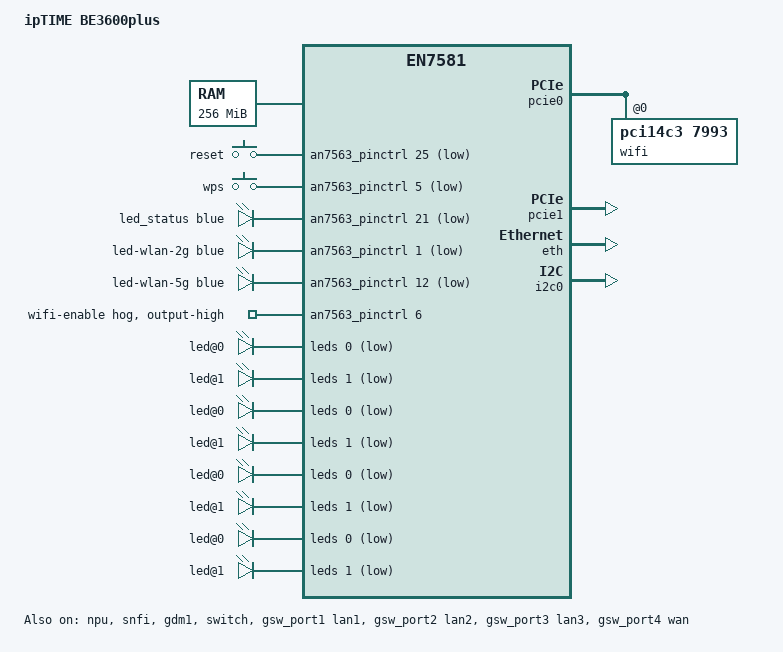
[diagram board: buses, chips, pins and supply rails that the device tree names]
// SPDX-License-Identifier: (GPL-2.0-only OR BSD-2-Clause)
/dts-v1/;

/* Bootloader installs ATF here (BL31 resident region, ~256 KiB). */
/memreserve/ 0x80000000 0x88000;

#include <dt-bindings/gpio/gpio.h>
#include <dt-bindings/input/input.h>
#include <dt-bindings/leds/common.h>
#include "an7563.dtsi"

/*
 * ipTIME BE3600plus: 256 MiB RAM, MT7990 (14c3:7993 + 14c3:799b) with its
 * EEPROM at Factory 0x0, WAN on switch port 4, no EN8811H. The port MACs
 * are below the Wi-Fi MAC at Factory 0x4, as on stock: LAN -2, WAN -1.
 * OpenWrt lives in tclinux_slave; everything else stays read-only.
 */

/ {
	model = "ipTIME BE3600plus";
	compatible = "iptime,be3600p", "airoha,an7563", "airoha,en7581";

	aliases {
		serial0 = &uart1;
		led-boot = &led_status;
		led-failsafe = &led_status;
		led-running = &led_status;
		led-upgrade = &led_status;
	};

	chosen {
		bootargs = "console=ttyS0,115200 earlycon";
		stdout-path = "serial0:115200n8";
	};

	memory@80000000 {
		device_type = "memory";
		reg = <0x80000000 0x10000000>;
	};

	reserved-memory {
		#address-cells = <1>;
		#size-cells = <1>;
		ranges;

		npu_firmware: npu-firmware@84000000 {
			reg = <0x84000000 0x300000>;
			no-map;
		};

		npu_pkt: npu-pkt@84400000 {
			reg = <0x84400000 0x1600000>;
			no-map;
		};
	};

	keys {
		compatible = "gpio-keys";

		reset {
			label = "reset";
			gpios = <&an7563_pinctrl 25 GPIO_ACTIVE_LOW>;
			linux,code = <KEY_RESTART>;
		};

		wps {
			label = "wps";
			gpios = <&an7563_pinctrl 5 GPIO_ACTIVE_LOW>;
			linux,code = <KEY_WPS_BUTTON>;
		};
	};

	leds {
		compatible = "gpio-leds";

		led_status: led-status {
			function = LED_FUNCTION_STATUS;
			color = <LED_COLOR_ID_BLUE>;
			gpios = <&an7563_pinctrl 21 GPIO_ACTIVE_LOW>;
			default-state = "on";
		};

		led-wlan-2g {
			function = LED_FUNCTION_WLAN_2GHZ;
			color = <LED_COLOR_ID_BLUE>;
			gpios = <&an7563_pinctrl 1 GPIO_ACTIVE_LOW>;
		};

		led-wlan-5g {
			function = LED_FUNCTION_WLAN_5GHZ;
			color = <LED_COLOR_ID_BLUE>;
			gpios = <&an7563_pinctrl 12 GPIO_ACTIVE_LOW>;
		};
	};
};

&an7563_pinctrl {
	gpio-ranges = <&an7563_pinctrl 0 0 28>;

	wifi-enable-hog {
		/* Stock U-Boot drives GPIO 6 high; stock resets the Wi-Fi with it. */
		gpio-hog;
		gpios = <6 GPIO_ACTIVE_HIGH>;
		output-high;
		line-name = "wifi-enable";
	};
};

&npu {
	memory-region = <&npu_firmware>, <&npu_pkt>;
	memory-region-names = "firmware", "pkt";
	status = "okay";
};

&pcie0 {
	ranges = <0x82000000 0 0x20000000 0x20000000 0 0x4000000>;
	status = "okay";

	pcie@0,0 {
		device_type = "pci";
		reg = <0x0000 0 0 0 0>;
		#address-cells = <3>;
		#size-cells = <2>;
		ranges;

		wifi@0,0 {
			/*
			 * No airoha,npu/airoha,eth: the source-built AN7552 NPU
			 * firmware handles the MT7992 only, and on this MT7990 the
			 * fallback mt76_npu_init() calls a NULL op. Wi-Fi uses the CPU.
			 */
			compatible = "pci14c3,7993";
			reg = <0x0000 0 0 0 0>;
			nvmem-cells = <&wifi_eeprom>;
			nvmem-cell-names = "eeprom";
		};
	};
};

&pcie1 {
	ranges = <0x82000000 0 0x24000000 0x24000000 0 0x4000000>;
	status = "okay";
};

&snfi {
	status = "okay";
};

&eth {
	status = "okay";
};

&gdm1 {
	nvmem-cells = <&macaddr_factory_4 (-2)>;
	nvmem-cell-names = "mac-address";
	status = "okay";
};

&i2c0 {
	status = "okay";
};

/* Same stock layout and DT order as the BE5100M (mtd numbers match stock). */
&spi_nand {
	airoha,bmt;

	partitions {
		compatible = "fixed-partitions";
		#address-cells = <1>;
		#size-cells = <1>;

		partition@0 {
			label = "bootloader";
			reg = <0x0 0x80000>;
			read-only;
		};

		partition@80000 {
			label = "u-boot-env";
			reg = <0x80000 0x80000>;
		};

		partition@100000 {
			label = "Factory";
			reg = <0x100000 0x400000>;
			read-only;

			nvmem-layout {
				compatible = "fixed-layout";
				#address-cells = <1>;
				#size-cells = <1>;

				wifi_eeprom: eeprom@0 {
					reg = <0x0 0x1e00>;
				};

				macaddr_factory_4: macaddr@4 {
					compatible = "mac-base";
					reg = <0x4 0x6>;
					#nvmem-cell-cells = <1>;
				};
			};
		};

		partition@500000 {
			label = "tclinux";
			reg = <0x500000 0x2800000>;
			read-only;
		};

		partition@5500000 {
			label = "stock_data";
			reg = <0x5500000 0x800000>;
			read-only;
		};

		partition@6c80000 {
			label = "art";
			reg = <0x6c80000 0x380000>;
			read-only;
		};

		/* OpenWrt lives here: FIP + HDR2 (0x2100), then the FIT. */
		partition@2d00000 {
			compatible = "denx,fit";
			label = "tclinux_slave";
			reg = <0x2d00000 0x2800000>;
			openwrt,fit-offset = <0x2100>;
		};
	};
};

&switch {
	status = "okay";
};

&gsw_port1 {
	label = "lan1";
	status = "okay";
};

&gsw_port2 {
	label = "lan2";
	status = "okay";
};

&gsw_port3 {
	label = "lan3";
	status = "okay";
};

&gsw_port4 {
	label = "wan";
	nvmem-cells = <&macaddr_factory_4 (-1)>;
	nvmem-cell-names = "mac-address";
	status = "okay";
};

/* Port LEDs are driven by the PHYs and are active-low on this board. */
&gsw_phy1 {
	leds {
		#address-cells = <1>;
		#size-cells = <0>;

		led@0 {
			reg = <0>;
			function = LED_FUNCTION_LAN;
			function-enumerator = <0>;
			active-low;
		};

		led@1 {
			reg = <1>;
			function = LED_FUNCTION_LAN;
			function-enumerator = <1>;
			active-low;
		};
	};
};

&gsw_phy2 {
	leds {
		#address-cells = <1>;
		#size-cells = <0>;

		led@0 {
			reg = <0>;
			function = LED_FUNCTION_LAN;
			function-enumerator = <0>;
			active-low;
		};

		led@1 {
			reg = <1>;
			function = LED_FUNCTION_LAN;
			function-enumerator = <1>;
			active-low;
		};
	};
};

&gsw_phy3 {
	leds {
		#address-cells = <1>;
		#size-cells = <0>;

		led@0 {
			reg = <0>;
			function = LED_FUNCTION_LAN;
			function-enumerator = <0>;
			active-low;
		};

		led@1 {
			reg = <1>;
			function = LED_FUNCTION_LAN;
			function-enumerator = <1>;
			active-low;
		};
	};
};

&gsw_phy4 {
	leds {
		#address-cells = <1>;
		#size-cells = <0>;

		led@0 {
			reg = <0>;
			function = LED_FUNCTION_WAN;
			function-enumerator = <0>;
			active-low;
		};

		led@1 {
			reg = <1>;
			function = LED_FUNCTION_WAN;
			function-enumerator = <1>;
			active-low;
		};
	};
};
